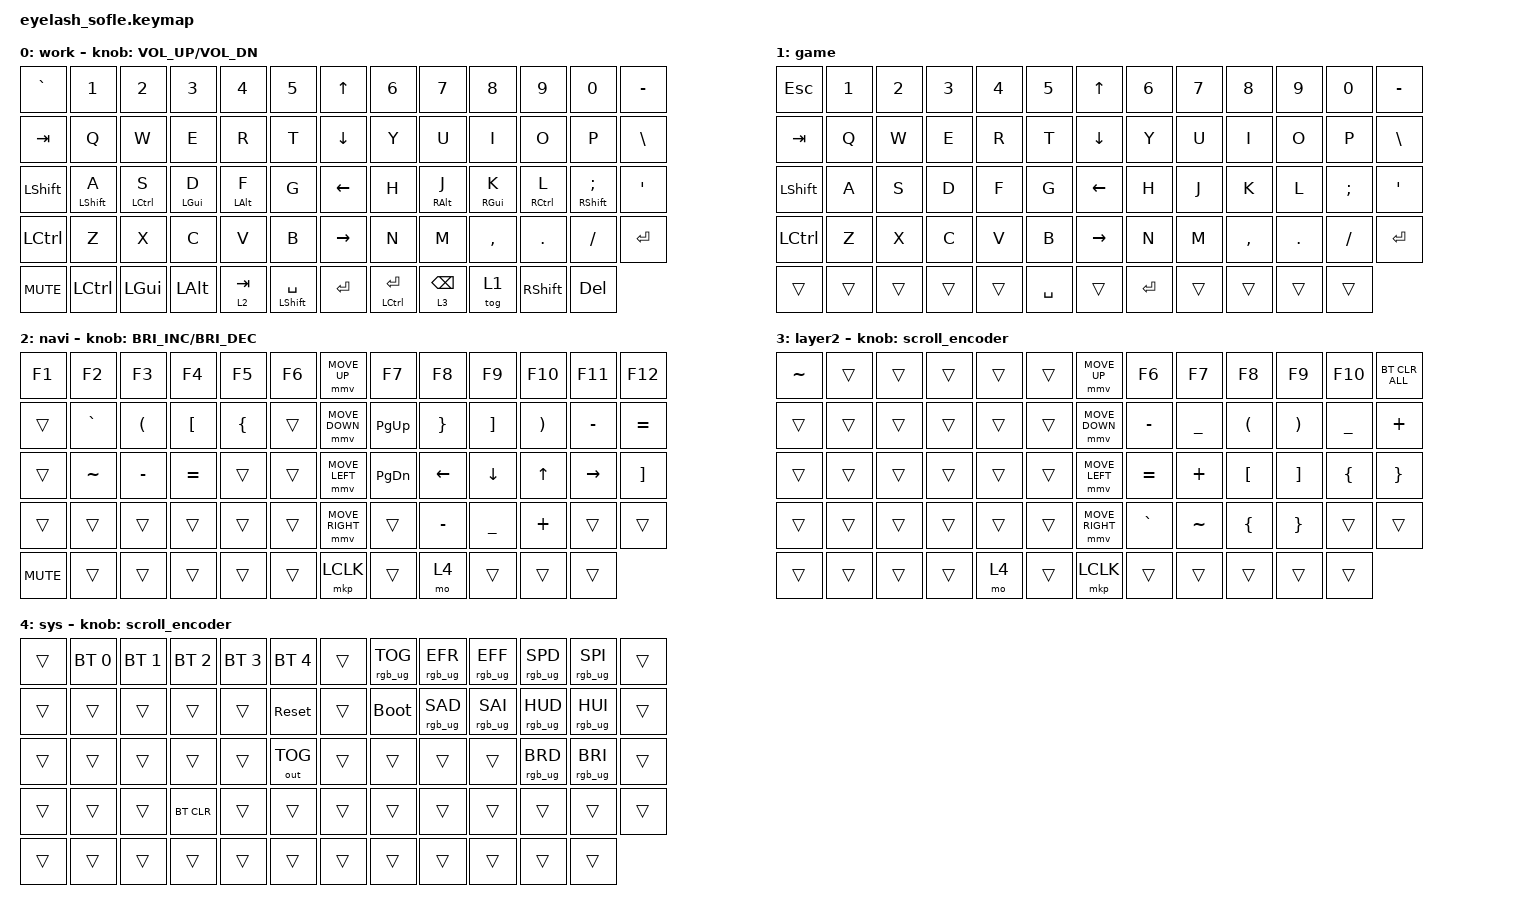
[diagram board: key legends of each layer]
#define ZMK_POINTING_DEFAULT_MOVE_VAL 1200  // 600
#define ZMK_POINTING_DEFAULT_SCRL_VAL 25   // 10

#include <input/processors.dtsi>
#include <zephyr/dt-bindings/input/input-event-codes.h>
#include <behaviors.dtsi>
#include <dt-bindings/zmk/bt.h>
#include <dt-bindings/zmk/keys.h>
#include <dt-bindings/zmk/outputs.h>
#include <dt-bindings/zmk/pointing.h>
#include <dt-bindings/zmk/rgb.h>

&mmv_input_listener { input-processors = <&zip_xy_scaler 2 1>; };

&msc_input_listener { input-processors = <&zip_scroll_scaler 2 1>; };

&msc {
    acceleration-exponent = <1>;      // 0
    time-to-max-speed-ms = <100>;       // 300
    delay-ms = <0>;                   // 0
};

&mmv {
    time-to-max-speed-ms = <500>;
    acceleration-exponent = <1>;
    trigger-period-ms = <16>;
};

&soft_off { hold-time-ms = <2000>; };

&mt {
    flavor = "balanced";
    quick-tap-ms = <150>;
};

&lt {
    quick-tap-ms = <175>;
    flavor = "hold-preferred";
    require-prior-idle-ms = <0>;
};

/ {
    // Add JK to ESC combo (right half positions: J=38, K=39)

    combos {
        compatible = "zmk,combos";

        combo_jk_esc {
            timeout-ms = <100>;
            key-positions = <34 35>; // Right half J (38) + K (39)
            bindings = <&kp ESC>;
            layers = <0>; // Only works on base layer
        };

        softoff {
            bindings = <&soft_off>;
            key-positions = <14 28 40>;
        };
    };

    scroll_encoder: scroll_encoder {
        compatible = "zmk,behavior-sensor-rotate";
        #sensor-binding-cells = <0>;
        bindings = <&msc SCRL_DOWN>, <&msc SCRL_UP>;

        tap-ms = <100>;
    };

    behaviors {
        hml: home_row_mod_left {
            compatible = "zmk,behavior-hold-tap";
            #binding-cells = <2>;
            // Timeless home-row mods: fast taps, intentional cross-hand holds.
            flavor = "balanced";
            require-prior-idle-ms = <100>;
            tapping-term-ms = <280>;
            bindings = <&kp>, <&kp>;

            hold-trigger-key-positions = <6 7 8 9 10 11 12 19 20 21 22 23 24 25 32 33 34 35 36 37 38 45 46 47 48 49 50 51 58 59 60 61 62 63>; // Treat opposite-hand keys (including thumbs) as chords
            hold-trigger-on-release;
            retro-tap;
        };

        hmr: home_row_mod_right {
            compatible = "zmk,behavior-hold-tap";
            #binding-cells = <2>;
            // Timeless home-row mods: fast taps, intentional cross-hand holds.
            flavor = "balanced";
            require-prior-idle-ms = <100>;
            tapping-term-ms = <280>;
            bindings = <&kp>, <&kp>;

            hold-trigger-key-positions = <0 1 2 3 4 5 13 14 15 16 17 18 26 27 28 29 30 31 39 40 41 42 43 44 52 53 54 55 56 57>; // Treat opposite-hand keys (including thumbs) as chords
            hold-trigger-on-release;
            retro-tap;
        };
    };

    macros {
        erbecho: erbecho {
            compatible = "zmk,behavior-macro";
            #binding-cells = <0>;
            bindings = <&none &kp LT &kp PRCNT &kp EQUAL &kp SPACE &kp PRCNT &kp GT>;
        };

        erbblock: erbblock {
            compatible = "zmk,behavior-macro";
            #binding-cells = <0>;
            bindings = <&none &kp LT &kp PRCNT &kp SPACE &kp PRCNT &kp GT>;
        };

        erbif: erbif {
            compatible = "zmk,behavior-macro";
            #binding-cells = <0>;
            bindings = <&none &kp LT &kp PRCNT &kp SPACE &kp I &kp F &kp SPACE &kp T &kp R &kp U &kp E &kp SPACE &kp PRCNT &kp GT &kp RET &kp RET &kp LT &kp PRCNT &kp SPACE &kp E &kp N &kp D &kp SPACE &kp PRCNT &kp GT>;
        };

        erbend: erbend {
            compatible = "zmk,behavior-macro";
            #binding-cells = <0>;
            bindings = <&none &kp LT &kp PRCNT &kp SPACE &kp E &kp N &kp D &kp SPACE &kp PRCNT &kp GT>;
        };

    };

    keymap {
        compatible = "zmk,keymap";

        work {
            bindings = <
&kp GRAVE       &kp N1     &kp N2        &kp N3        &kp N4     &kp N5              &kp UP_ARROW     &kp N6           &kp N7           &kp N8     &kp N9           &kp N0      &kp MINUS
&kp TAB         &kp Q      &kp W         &kp E         &kp R      &kp T               &kp DOWN_ARROW   &kp Y            &kp U            &kp I      &kp O            &kp P       &kp BSLH
&kp LEFT_SHIFT  &hml LEFT_SHIFT A  &hml LCTRL S  &hml LEFT_GUI D  &hml LEFT_ALT F  &kp G               &kp LEFT_ARROW  &kp H  &hmr RIGHT_ALT J  &hmr RGUI K  &hmr RCTRL L  &hmr RIGHT_SHIFT SEMI  &kp APOS
&kp LCTRL       &kp Z      &kp X         &kp C         &kp V      &kp B               &kp RIGHT_ARROW  &kp N            &kp M            &kp COMMA  &kp DOT          &kp FSLH    &kp ENTER
&kp C_MUTE      &kp LCTRL  &kp LEFT_GUI  &kp LEFT_ALT  &lt 2 TAB  &mt LSHIFT SPACE    &kp ENTER        &mt LCTRL ENTER  &lt 3 BACKSPACE  &tog 1     &kp RIGHT_SHIFT  &kp DELETE
            >;

            sensor-bindings = <&inc_dec_kp C_VOLUME_UP C_VOL_DN>;
            display-name = "work";
        };

        game {
            bindings = <
&kp ESC    &kp N1  &kp N2  &kp N3  &kp N4  &kp N5       &kp UP     &kp N6     &kp N7  &kp N8     &kp N9   &kp N0    &kp MINUS
&kp TAB    &kp Q   &kp W   &kp E   &kp R   &kp T        &kp DOWN   &kp Y      &kp U   &kp I      &kp O    &kp P     &kp BSLH
&kp LSHFT  &kp A   &kp S   &kp D   &kp F   &kp G        &kp LEFT   &kp H      &kp J   &kp K      &kp L    &kp SEMI  &kp APOS
&kp LCTRL  &kp Z   &kp X   &kp C   &kp V   &kp B        &kp RIGHT  &kp N      &kp M   &kp COMMA  &kp DOT  &kp FSLH  &kp ENTER
&trans     &trans  &trans  &trans  &trans  &kp SPACE    &trans     &kp ENTER  &trans  &trans     &trans   &trans
            >;
        };

        navi {
            bindings = <
&kp F1      &kp F2     &kp F3                &kp F4            &kp F5          &kp F6    &mmv MOVE_UP     &kp F7     &kp F8           &kp F9             &kp F10                &kp F11          &kp F12
&trans      &kp GRAVE  &kp LEFT_PARENTHESIS  &kp LEFT_BRACKET  &kp LEFT_BRACE  &trans    &mmv MOVE_DOWN   &kp PG_UP  &kp RIGHT_BRACE  &kp RIGHT_BRACKET  &kp RIGHT_PARENTHESIS  &kp MINUS        &kp EQUAL
&trans      &kp TILDE  &kp MINUS             &kp EQUAL         &trans          &trans    &mmv MOVE_LEFT   &kp PG_DN  &kp LEFT         &kp DOWN           &kp UP_ARROW           &kp RIGHT_ARROW  &kp RIGHT_BRACKET
&trans      &trans     &trans                &trans            &trans          &trans    &mmv MOVE_RIGHT  &trans     &kp MINUS        &kp UNDERSCORE     &kp PLUS               &trans           &trans
&kp C_MUTE  &trans     &trans                &trans            &trans          &trans    &mkp LCLK        &trans     &mo 4            &trans             &trans                 &trans
            >;

            display-name = "navi";
            sensor-bindings = <&inc_dec_kp C_BRIGHTNESS_INC C_BRIGHTNESS_DEC>;
        };

        symb {
            bindings = <
&kp TILDE  &trans  &trans  &trans  &trans  &trans    &mmv MOVE_UP     &kp F6     &kp F7          &kp F8                &kp F9                 &kp F10    &bt BT_CLR_ALL
&trans     &trans  &trans  &trans  &trans  &trans    &mmv MOVE_DOWN   &kp MINUS  &kp UNDERSCORE  &kp LEFT_PARENTHESIS  &kp RIGHT_PARENTHESIS  &kp UNDER  &kp PLUS
&trans     &trans  &trans  &trans  &trans  &trans    &mmv MOVE_LEFT   &kp EQUAL  &kp PLUS        &kp LEFT_BRACKET      &kp RIGHT_BRACKET      &kp LBRC   &kp RBRC
&trans     &trans  &trans  &trans  &trans  &trans    &mmv MOVE_RIGHT  &kp GRAVE  &kp TILDE       &kp LEFT_BRACE        &kp RIGHT_BRACE        &trans     &trans
&trans     &trans  &trans  &trans  &mo 4   &trans    &mkp LCLK        &trans     &trans          &trans                &trans                 &trans
            >;

            display-name = "layer2";
            sensor-bindings = <&scroll_encoder>;
        };

        sys {
            bindings = <
&trans  &bt BT_SEL 0  &bt BT_SEL 1  &bt BT_SEL 2  &bt BT_SEL 3  &bt BT_SEL 4    &trans  &rgb_ug RGB_TOG  &rgb_ug RGB_EFR  &rgb_ug RGB_EFF  &rgb_ug RGB_SPD  &rgb_ug RGB_SPI  &trans
&trans  &trans        &trans        &trans        &trans        &sys_reset      &trans  &bootloader      &rgb_ug RGB_SAD  &rgb_ug RGB_SAI  &rgb_ug RGB_HUD  &rgb_ug RGB_HUI  &trans
&trans  &trans        &trans        &trans        &trans        &out OUT_TOG    &trans  &trans           &trans           &trans           &rgb_ug RGB_BRD  &rgb_ug RGB_BRI  &trans
&trans  &trans        &trans        &bt BT_CLR    &trans        &trans          &trans  &trans           &trans           &trans           &trans           &trans           &trans
&trans  &trans        &trans        &trans        &trans        &trans          &trans  &trans           &trans           &trans           &trans           &trans
            >;

            display-name = "sys";
            sensor-bindings = <&scroll_encoder>;
        };
    };
};
